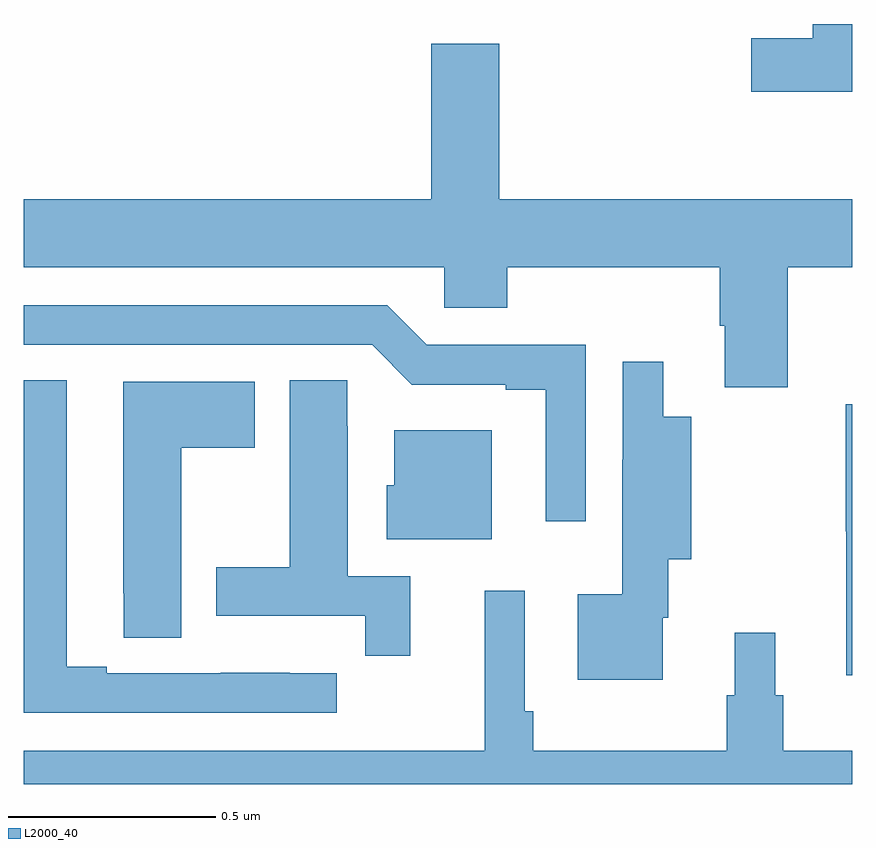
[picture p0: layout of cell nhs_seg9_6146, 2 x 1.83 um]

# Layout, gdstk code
import gdstk
lib = gdstk.Library(unit=1e-6, precision=1e-09)
def P(c, l, *ps):  # polygons
    for p in ps: c.add(gdstk.Polygon(p, *l))
L2000_40 = (2000, 40)

nhs_seg9_6146 = lib.new_cell('nhs_seg9_6146')
P(nhs_seg9_6146, L2000_40, [(190,1202.335),(189.905,1202.335),(189.905,1202.301),(189.756,1202.301),(189.756,1202.171),(190,1202.171)],
  [(189.845,1201.748),(190,1201.748),(190,1201.912),(189.148,1201.912),(189.148,1202.287),(188.984,1202.287),(188.984,1201.912),(188,1201.912),(188,1201.748),(189.015,1201.748),(189.015,1201.65),(189.167,1201.65),(189.167,1201.748),(189.68,1201.748),(189.68,1201.606),(189.692,1201.606),(189.692,1201.458),(189.845,1201.458)],
  [(189.357,1201.56),(188.973,1201.56),(188.877,1201.656),(188,1201.656),(188,1201.56),(188.841,1201.56),(188.937,1201.464),(189.164,1201.464),(189.164,1201.452),(189.26,1201.452),(189.26,1201.134),(189.357,1201.134)],
  [(189.543,1200.902),(189.556,1200.902),(189.556,1201.043),(189.612,1201.043),(189.612,1201.387),(189.544,1201.387),(189.544,1201.519),(189.446,1201.519),(189.446,1201.283),(189.445,1201.283),(189.445,1200.958),(189.338,1200.958),(189.338,1200.752),(189.543,1200.752)],
  [(188.755,1200.768),(188.642,1200.768),(188.642,1200.769),(188.476,1200.769),(188.476,1200.768),(188.2,1200.768),(188.2,1200.783),(188.104,1200.783),(188.104,1201.475),(188,1201.475),(188,1200.672),(188.755,1200.672)],
  [(188.933,1201.002),(188.782,1201.002),(188.782,1201.364),(188.781,1201.364),(188.781,1201.475),(188.642,1201.475),(188.642,1201.023),(188.465,1201.023),(188.465,1200.906),(188.824,1200.906),(188.824,1200.81),(188.933,1200.81)],
  [(188.38,1201.312),(188.557,1201.312),(188.557,1201.471),(188.24,1201.471),(188.24,1200.961),(188.241,1200.961),(188.241,1200.853),(188.38,1200.853)],
  [(190,1201.417),(189.985,1201.417),(189.985,1201.11),(189.986,1201.11),(189.986,1200.762),(190,1200.762)],
  [(189.13,1201.354),(188.894,1201.354),(188.894,1201.221),(188.876,1201.221),(188.876,1201.091),(189.13,1201.091)],
  [(190,1200.58),(189.833,1200.58),(189.833,1200.714),(189.814,1200.714),(189.814,1200.865),(189.716,1200.865),(189.716,1200.714),(189.697,1200.714),(189.697,1200.58),(189.23,1200.58),(189.23,1200.676),(189.21,1200.676),(189.21,1200.967),(189.113,1200.967),(189.113,1200.58),(188,1200.58),(188,1200.5),(190,1200.5)])

lib.write_gds('nhs_seg9_6146.gds')
